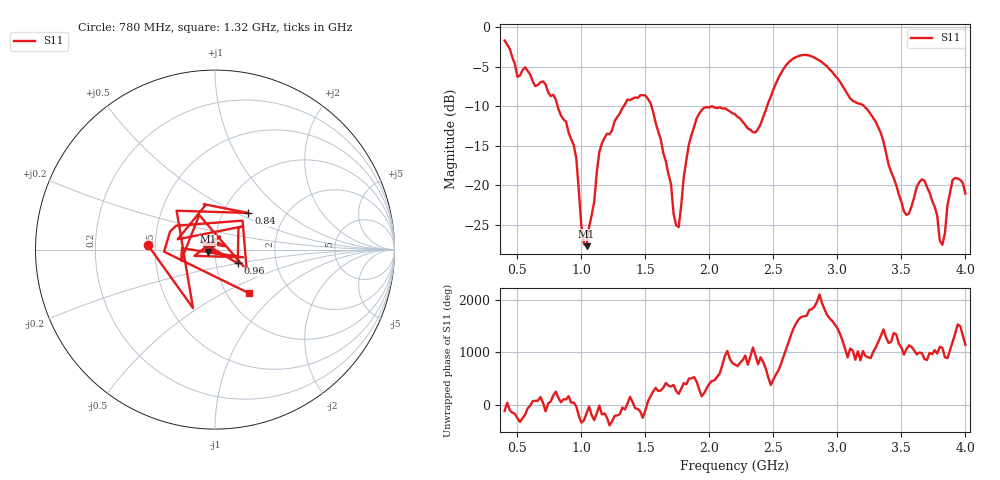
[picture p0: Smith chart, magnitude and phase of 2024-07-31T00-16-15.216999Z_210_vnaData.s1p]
!Created with skrf (http://scikit-rf.org).
# Hz S RI R 50.0
!freq ReS11 ImS11
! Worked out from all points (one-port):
!   181 points, 400 MHz to 4 GHz, reference 50 ohm
!   lowest |S11| = -27.7 dB at 1.04 GHz (marker M1), VSWR 1.09, Z = 46.2 - j1.1 ohm
!   |S11| at or under -10 dB: 814.3 MHz to 1.331 GHz (516.9 MHz wide, 48.2 % of centre); 1.547 GHz to 2.451 GHz (903.9 MHz wide, 45.2 % of centre); 3.208 GHz to end of sweep
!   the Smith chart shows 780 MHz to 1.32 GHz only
!   S11 on the Smith chart (normalised r, x): 780 MHz: 0.46, +0.02; 840 MHz: 1.31, +0.58; 960 MHz: 1.27, -0.20; 1.32 GHz: 1.26, -0.68
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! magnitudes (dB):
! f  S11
! 400 MHz  -1.7
! 500 MHz  -6.3
! 560 MHz  -5.1
! 780 MHz  -8.6
! 840 MHz  -11.2
! 860 MHz  -11.7
! 960 MHz  -16.6
! 1 GHz  -25.2
! 1.04 GHz  -27.7
! 1.14 GHz  -15.8
! 1.3 GHz  -10.9
! 1.32 GHz  -10.3
! 1.54 GHz  -9.6
! 1.76 GHz  -25.3
! 1.84 GHz  -14.8
! 1.9 GHz  -11.6
! 2.2 GHz  -11.0
! 2.36 GHz  -13.3
! 2.66 GHz  -3.9
! 2.88 GHz  -4.5
! 3.1 GHz  -9.0
! 3.3 GHz  -12.0
! 3.52 GHz  -23.3
! 3.56 GHz  -23.6
! 3.68 GHz  -19.4
! 3.82 GHz  -27.5
! 3.9 GHz  -19.3
! 4 GHz  -21.1
